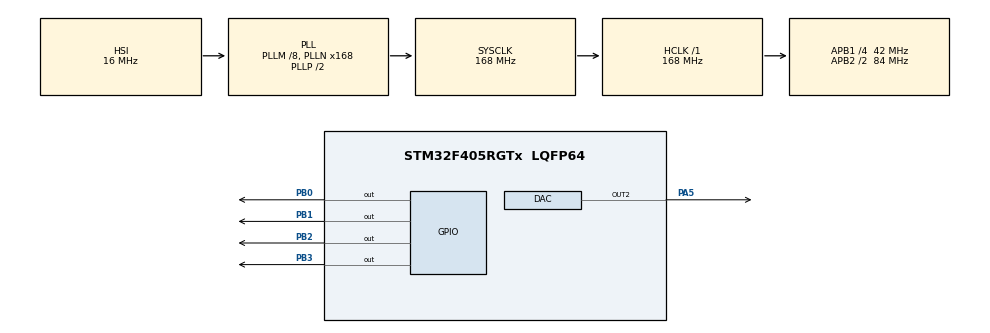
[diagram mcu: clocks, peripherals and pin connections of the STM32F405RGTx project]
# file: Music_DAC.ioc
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DAC.DAC_Trigger2=DAC_TRIGGER_T7_TRGO
DAC.WaveGeneration2=DISABLE
Dma.DAC2.0.Direction=DMA_MEMORY_TO_PERIPH
Dma.DAC2.0.FIFOMode=DMA_FIFOMODE_DISABLE
Dma.DAC2.0.Instance=DMA1_Stream6
Dma.DAC2.0.MemDataAlignment=DMA_MDATAALIGN_HALFWORD
Dma.DAC2.0.MemInc=DMA_MINC_ENABLE
Dma.DAC2.0.Mode=DMA_CIRCULAR
Dma.DAC2.0.PeriphDataAlignment=DMA_PDATAALIGN_HALFWORD
Dma.DAC2.0.PeriphInc=DMA_PINC_DISABLE
Dma.DAC2.0.Priority=DMA_PRIORITY_VERY_HIGH
Dma.Request0=DAC2
Mcu.Family=STM32F4
Mcu.Name=STM32F405RGTx
Mcu.Package=LQFP64
NVIC.DMA1_Stream6_IRQn=true\:0\:0\:false\:false\:true\:false\:true\:true
NVIC.PriorityGroup=NVIC_PRIORITYGROUP_4
PA13.Mode=Serial_Wire
PA13.Signal=SYS_JTMS-SWDIO
PA14.Mode=Serial_Wire
PA14.Signal=SYS_JTCK-SWCLK
PA5.Signal=COMP_DAC2_group
PB0.Signal=GPIO_Output
PB1.Signal=GPIO_Output
PB2.Signal=GPIO_Output
PB3.Signal=GPIO_Output
PH0-OSC_IN.Mode=HSE-External-Oscillator
PH0-OSC_IN.Signal=RCC_OSC_IN
PH1-OSC_OUT.Mode=HSE-External-Oscillator
PH1-OSC_OUT.Signal=RCC_OSC_OUT
ProjectManager.HeapSize=0x200
ProjectManager.StackSize=0x400
ProjectManager.TargetToolchain=MDK-ARM V5
RCC.48MHZClocksFreq_Value=67200000
RCC.AHBFreq_Value=168000000
RCC.APB1CLKDivider=RCC_HCLK_DIV4
RCC.APB1Freq_Value=42000000
RCC.APB1TimFreq_Value=84000000
RCC.APB2CLKDivider=RCC_HCLK_DIV2
RCC.APB2Freq_Value=84000000
RCC.APB2TimFreq_Value=168000000
RCC.CortexFreq_Value=168000000
RCC.HCLKFreq_Value=168000000
RCC.HSE_VALUE=8000000
RCC.HSI_VALUE=16000000
RCC.LSE_VALUE=32768
RCC.PLLM=8
RCC.PLLN=168
RCC.PLLQ=5
RCC.SYSCLKFreq_VALUE=168000000
RCC.SYSCLKSource=RCC_SYSCLKSOURCE_PLLCLK
RCC.VCOOutputFreq_Value=336000000
SH.COMP_DAC2_group.0=DAC_OUT2,DAC_OUT2
TIM7.AutoReloadPreload=TIM_AUTORELOAD_PRELOAD_ENABLE
TIM7.Period=75
TIM7.Prescaler=99
TIM7.TIM_MasterOutputTrigger=TIM_TRGO_UPDATE
VP_TIM7_VS_ClockSourceINT.Mode=Enable_Timer
board=custom

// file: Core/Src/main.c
/* USER CODE BEGIN Header */
/**
  ******************************************************************************
  * @file           : main.c
  * @brief          : Main program body
  ******************************************************************************
  * @attention
  *
  * Copyright (c) 2023 STMicroelectronics.
  * All rights reserved.
  *
  * This software is licensed under terms that can be found in the LICENSE file
  * in the root directory of this software component.
  * If no LICENSE file comes with this software, it is provided AS-IS.
  *
  ******************************************************************************
  */
/* USER CODE END Header */
#include "main.h"

/* USER CODE BEGIN Includes */
#include "soundValue.h"
/* USER CODE END Includes */

/* USER CODE BEGIN PD */
#define NUMDATA 105462
/* USER CODE END PD */

/* USER CODE BEGIN PM */
inline uint8_t numHbit(uint16_t data){
	uint8_t num = 0;
	while(data){
		if(data && 0x01) num++;
		data = data >> 1;
	}
	return num;
}
/* USER CODE END PM */

DAC_HandleTypeDef hdac;
DMA_HandleTypeDef hdma_dac2;

TIM_HandleTypeDef htim7;

/* USER CODE BEGIN PV */
uint8_t bitShift = 0;
uint8_t numLed = 1;
uint16_t delayInc = 0;
/* USER CODE END PV */

void SystemClock_Config(void);
static void MX_GPIO_Init(void);
static void MX_DMA_Init(void);
static void MX_DAC_Init(void);
static void MX_TIM7_Init(void);
/* USER CODE BEGIN PFP */
void DMA_Configure(void);
/* USER CODE END PFP */

int main(void)
{

  /* MCU Configuration--------------------------------------------------------*/

  /* Reset of all peripherals, Initializes the Flash interface and the Systick. */
  HAL_Init();

  /* Configure the system clock */
  SystemClock_Config();

  /* Initialize all configured peripherals */
  MX_GPIO_Init();
  MX_DMA_Init();
  MX_DAC_Init();
  MX_TIM7_Init();
  /* USER CODE BEGIN 2 */

	// Start TIM7
	HAL_TIM_Base_Start(&htim7);

	// Start DAC by trigger TIM7
	HAL_DAC_Start_DMA(&hdac, DAC_CHANNEL_2, (uint32_t*)&soundValue, NUMDATA, DAC_ALIGN_8B_R);

  /* USER CODE END 2 */

  /* Infinite loop */
  while (1)
  {

    /* USER CODE BEGIN 3 */

		uint16_t valueLed = (numLed << bitShift);
		bitShift++;

		if(bitShift > 4 - numHbit(numLed)){
			bitShift = 0;
			numLed |= (numLed<<1);
		}

		HAL_GPIO_WritePin(GPIOB, valueLed, GPIO_PIN_SET);
		HAL_GPIO_WritePin(GPIOB, ~valueLed, GPIO_PIN_RESET);

		delayInc = numLed * 50;
		HAL_Delay(delayInc);

		if(numLed > 0x7){
			numLed = 1;
		}

  }
  /* USER CODE END 3 */
}

void SystemClock_Config(void)
{
  RCC_OscInitTypeDef RCC_OscInitStruct = {0};
  RCC_ClkInitTypeDef RCC_ClkInitStruct = {0};

  /** Configure the main internal regulator output voltage
  */
  __HAL_RCC_PWR_CLK_ENABLE();
  __HAL_PWR_VOLTAGESCALING_CONFIG(PWR_REGULATOR_VOLTAGE_SCALE1);

  /** Initializes the RCC Oscillators according to the specified parameters
  * in the RCC_OscInitTypeDef structure.
  */
  RCC_OscInitStruct.OscillatorType = RCC_OSCILLATORTYPE_HSI;
  RCC_OscInitStruct.HSIState = RCC_HSI_ON;
  RCC_OscInitStruct.HSICalibrationValue = RCC_HSICALIBRATION_DEFAULT;
  RCC_OscInitStruct.PLL.PLLState = RCC_PLL_ON;
  RCC_OscInitStruct.PLL.PLLSource = RCC_PLLSOURCE_HSI;
  RCC_OscInitStruct.PLL.PLLM = 8;
  RCC_OscInitStruct.PLL.PLLN = 168;
  RCC_OscInitStruct.PLL.PLLP = RCC_PLLP_DIV2;
  RCC_OscInitStruct.PLL.PLLQ = 5;
  if (HAL_RCC_OscConfig(&RCC_OscInitStruct) != HAL_OK)
  {
    Error_Handler();
  }

  /** Initializes the CPU, AHB and APB buses clocks
  */
  RCC_ClkInitStruct.ClockType = RCC_CLOCKTYPE_HCLK|RCC_CLOCKTYPE_SYSCLK
                              |RCC_CLOCKTYPE_PCLK1|RCC_CLOCKTYPE_PCLK2;
  RCC_ClkInitStruct.SYSCLKSource = RCC_SYSCLKSOURCE_PLLCLK;
  RCC_ClkInitStruct.AHBCLKDivider = RCC_SYSCLK_DIV1;
  RCC_ClkInitStruct.APB1CLKDivider = RCC_HCLK_DIV4;
  RCC_ClkInitStruct.APB2CLKDivider = RCC_HCLK_DIV2;

  if (HAL_RCC_ClockConfig(&RCC_ClkInitStruct, FLASH_LATENCY_5) != HAL_OK)
  {
    Error_Handler();
  }
}

static void MX_DAC_Init(void)
{

  DAC_ChannelConfTypeDef sConfig = {0};

  /** DAC Initialization
  */
  hdac.Instance = DAC;
  if (HAL_DAC_Init(&hdac) != HAL_OK)
  {
    Error_Handler();
  }

  /** DAC channel OUT2 config
  */
  sConfig.DAC_Trigger = DAC_TRIGGER_T7_TRGO;
  sConfig.DAC_OutputBuffer = DAC_OUTPUTBUFFER_ENABLE;
  if (HAL_DAC_ConfigChannel(&hdac, &sConfig, DAC_CHANNEL_2) != HAL_OK)
  {
    Error_Handler();
  }

}

static void MX_TIM7_Init(void)
{

  TIM_MasterConfigTypeDef sMasterConfig = {0};

  htim7.Instance = TIM7;
  htim7.Init.Prescaler = 99;
  htim7.Init.CounterMode = TIM_COUNTERMODE_UP;
  htim7.Init.Period = 75;
  htim7.Init.AutoReloadPreload = TIM_AUTORELOAD_PRELOAD_ENABLE;
  if (HAL_TIM_Base_Init(&htim7) != HAL_OK)
  {
    Error_Handler();
  }
  sMasterConfig.MasterOutputTrigger = TIM_TRGO_UPDATE;
  sMasterConfig.MasterSlaveMode = TIM_MASTERSLAVEMODE_DISABLE;
  if (HAL_TIMEx_MasterConfigSynchronization(&htim7, &sMasterConfig) != HAL_OK)
  {
    Error_Handler();
  }

}

static void MX_DMA_Init(void)
{

  /* DMA controller clock enable */
  __HAL_RCC_DMA1_CLK_ENABLE();

  /* DMA interrupt init */
  /* DMA1_Stream6_IRQn interrupt configuration */
  HAL_NVIC_SetPriority(DMA1_Stream6_IRQn, 0, 0);
  HAL_NVIC_EnableIRQ(DMA1_Stream6_IRQn);

}

static void MX_GPIO_Init(void)
{
  GPIO_InitTypeDef GPIO_InitStruct = {0};

  /* GPIO Ports Clock Enable */
  __HAL_RCC_GPIOH_CLK_ENABLE();
  __HAL_RCC_GPIOA_CLK_ENABLE();
  __HAL_RCC_GPIOB_CLK_ENABLE();

  /*Configure GPIO pin Output Level */
  HAL_GPIO_WritePin(GPIOB, GPIO_PIN_0|GPIO_PIN_1|GPIO_PIN_2|GPIO_PIN_3, GPIO_PIN_RESET);

  /*Configure GPIO pins : PB0 PB1 PB2 PB3 */
  GPIO_InitStruct.Pin = GPIO_PIN_0|GPIO_PIN_1|GPIO_PIN_2|GPIO_PIN_3;
  GPIO_InitStruct.Mode = GPIO_MODE_OUTPUT_PP;
  GPIO_InitStruct.Pull = GPIO_NOPULL;
  GPIO_InitStruct.Speed = GPIO_SPEED_FREQ_LOW;
  HAL_GPIO_Init(GPIOB, &GPIO_InitStruct);

}

void Error_Handler(void)
{
  __disable_irq();
  while (1)
  {
  }
}
